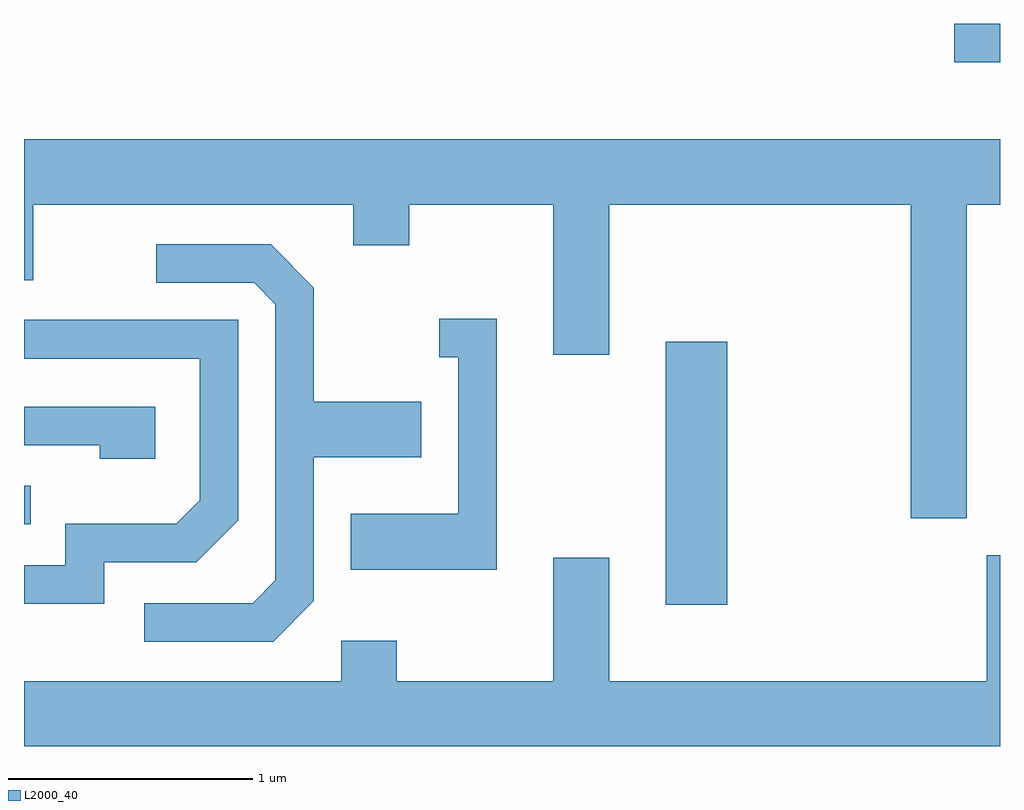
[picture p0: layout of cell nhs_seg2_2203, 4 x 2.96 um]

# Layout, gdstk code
import gdstk
lib = gdstk.Library(unit=1e-6, precision=1e-09)
def R(c, l, rs):  # rectangles x0, y0, x1, y1
    for r in rs: c.add(gdstk.rectangle(r[:2], r[2:], *l))
def P(c, l, *ps):  # polygons
    for p in ps: c.add(gdstk.Polygon(p, *l))
L2000_40 = (2000, 40)

nhs_seg2_2203 = lib.new_cell('nhs_seg2_2203')
R(nhs_seg2_2203, L2000_40, [(252.241,1033.356,252.494,1034.434), (249.611,1033.686,249.638,1033.844), (253.423,1035.581,253.611,1035.739)])
P(nhs_seg2_2203, L2000_40, [(253.474,1034.996),(253.611,1034.996),(253.611,1035.264),(249.611,1035.264),(249.611,1034.686),(249.649,1034.686),(249.649,1034.996),(250.961,1034.996),(250.961,1034.831),(251.189,1034.831),(251.189,1034.996),(251.781,1034.996),(251.781,1034.381),(252.009,1034.381),(252.009,1034.996),(253.246,1034.996),(253.246,1033.711),(253.474,1033.711)],
  [(250.799,1033.373),(250.799,1033.961),(251.239,1033.961),(251.239,1034.189),(250.799,1034.189),(250.799,1034.657),(250.622,1034.834),(250.153,1034.834),(250.153,1034.676),(250.554,1034.676),(250.641,1034.589),(250.641,1033.457),(250.549,1033.364),(250.103,1033.364),(250.103,1033.206),(250.632,1033.206)],
  [(251.549,1034.529),(251.313,1034.529),(251.313,1034.371),(251.391,1034.371),(251.391,1033.729),(250.951,1033.729),(250.951,1033.501),(251.549,1033.501)],
  [(249.939,1033.531),(250.317,1033.531),(250.489,1033.704),(250.489,1034.524),(249.611,1034.524),(249.611,1034.366),(250.331,1034.366),(250.331,1033.786),(250.234,1033.689),(249.781,1033.689),(249.781,1033.519),(249.611,1033.519),(249.611,1033.361),(249.939,1033.361)],
  [(250.149,1034.169),(249.611,1034.169),(249.611,1034.011),(249.921,1034.011),(249.921,1033.956),(250.149,1033.956)],
  [(253.611,1033.559),(253.556,1033.559),(253.556,1033.044),(252.009,1033.044),(252.009,1033.549),(251.781,1033.549),(251.781,1033.044),(251.139,1033.044),(251.139,1033.209),(250.911,1033.209),(250.911,1033.044),(249.611,1033.044),(249.611,1032.776),(253.611,1032.776)])

lib.write_gds('nhs_seg2_2203.gds')
